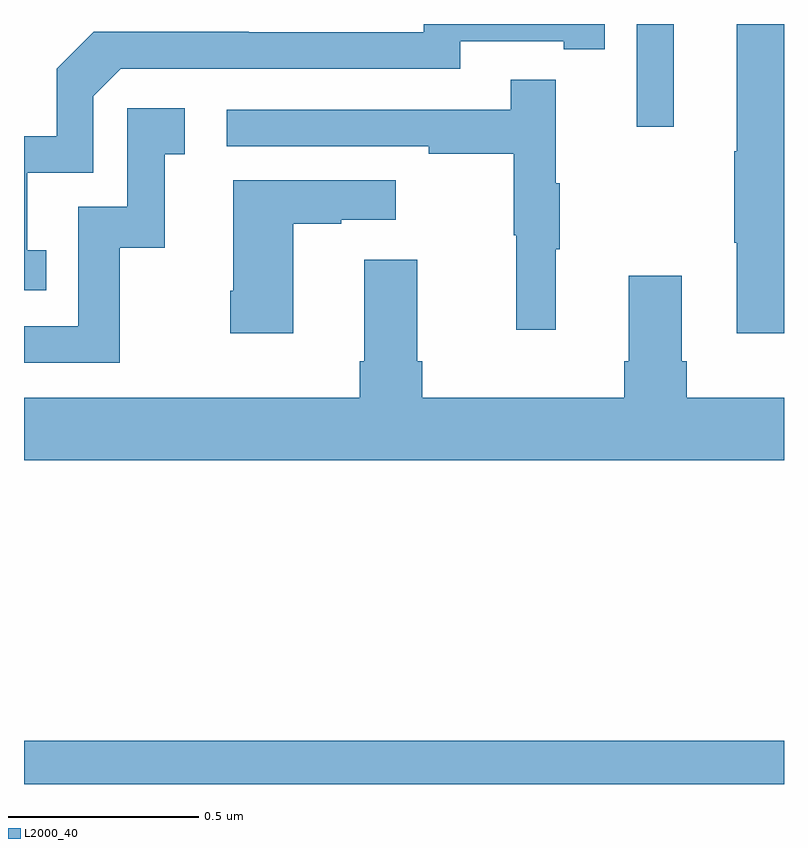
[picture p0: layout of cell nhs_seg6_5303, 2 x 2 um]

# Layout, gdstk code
import gdstk
lib = gdstk.Library(unit=1e-6, precision=1e-09)
def R(c, l, rs):  # rectangles x0, y0, x1, y1
    for r in rs: c.add(gdstk.rectangle(r[:2], r[2:], *l))
def P(c, l, *ps):  # polygons
    for p in ps: c.add(gdstk.Polygon(p, *l))
L2000_40 = (2000, 40)

nhs_seg6_5303 = lib.new_cell('nhs_seg6_5303')
R(nhs_seg6_5303, L2000_40, [(181,930.5,183,930.614), (182.613,932.229,182.71,932.5)])
P(nhs_seg6_5303, L2000_40, [(181.058,931.905),(181.009,931.905),(181.009,932.109),(181.182,932.109),(181.182,932.31),(181.254,932.382),(182.148,932.382),(182.148,932.454),(182.42,932.454),(182.42,932.434),(182.528,932.434),(182.528,932.5),(182.052,932.5),(182.052,932.478),(181.592,932.478),(181.592,932.48),(181.184,932.48),(181.086,932.382),(181.086,932.205),(181,932.205),(181,931.8),(181.058,931.8)],
  [(183,932.5),(182.876,932.5),(182.876,932.165),(182.869,932.165),(182.869,931.924),(182.876,931.924),(182.876,931.686),(183,931.686)],
  [(182.399,931.907),(182.41,931.907),(182.41,932.081),(182.399,932.081),(182.399,932.353),(182.281,932.353),(182.281,932.274),(181.533,932.274),(181.533,932.178),(182.065,932.178),(182.065,932.158),(182.289,932.158),(182.289,931.944),(182.296,931.944),(182.296,931.695),(182.399,931.695)],
  [(181.252,931.911),(181.37,931.911),(181.37,932.157),(181.423,932.157),(181.423,932.278),(181.272,932.278),(181.272,932.019),(181.143,932.019),(181.143,931.704),(181,931.704),(181,931.608),(181.252,931.608)],
  [(181.708,931.975),(181.835,931.975),(181.835,931.985),(181.978,931.985),(181.978,932.089),(181.55,932.089),(181.55,931.798),(181.543,931.798),(181.543,931.686),(181.708,931.686)],
  [(183,931.516),(182.744,931.516),(182.744,931.612),(182.731,931.612),(182.731,931.837),(182.591,931.837),(182.591,931.612),(182.579,931.612),(182.579,931.516),(182.048,931.516),(182.048,931.612),(182.035,931.612),(182.035,931.879),(181.895,931.879),(181.895,931.612),(181.883,931.612),(181.883,931.516),(181,931.516),(181,931.352),(183,931.352)])

lib.write_gds('nhs_seg6_5303.gds')
